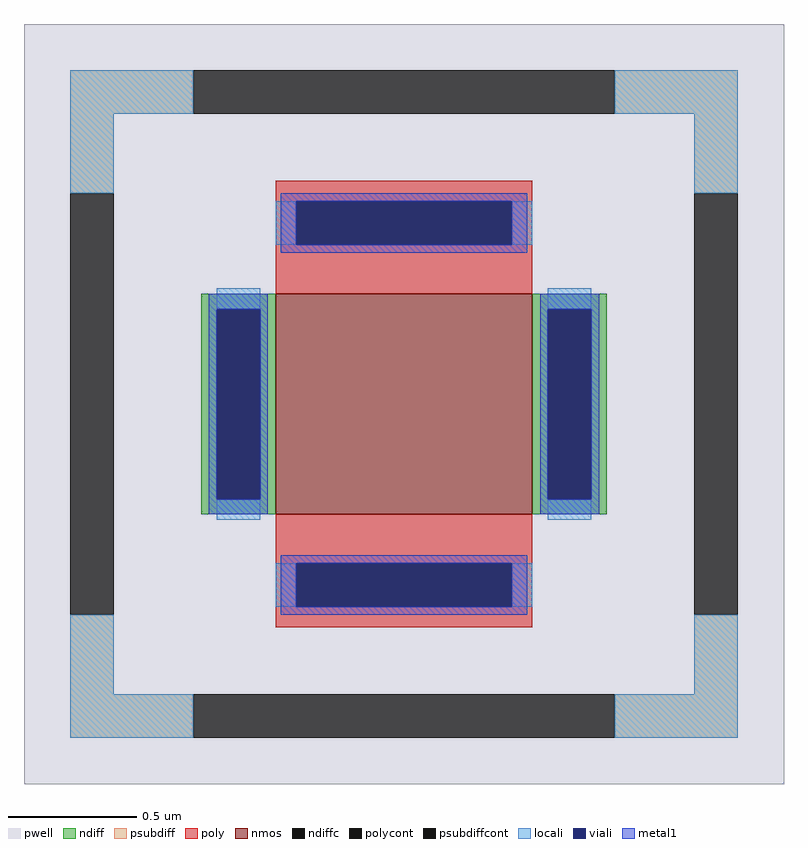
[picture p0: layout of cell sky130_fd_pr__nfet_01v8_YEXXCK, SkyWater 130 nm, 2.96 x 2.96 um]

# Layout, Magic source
magic
tech sky130A
<< pwell >>
rect -148 -148 148 148
<< nmos >>
rect -50 -43 50 43
<< ndiff >>
rect -79 37 -50 43
rect -79 -37 -73 37
rect -56 -37 -50 37
rect -79 -43 -50 -37
rect 50 37 79 43
rect 50 -37 56 37
rect 73 -37 79 37
rect 50 -43 79 -37
<< ndiffc >>
rect -73 -37 -56 37
rect 56 -37 73 37
<< psubdiff >>
rect -130 113 -82 130
rect 82 113 130 130
rect -130 82 -113 113
rect 113 82 130 113
rect -130 -113 -113 -82
rect 113 -113 130 -82
rect -130 -130 -82 -113
rect 82 -130 130 -113
<< psubdiffcont >>
rect -82 113 82 130
rect -130 -82 -113 82
rect 113 -82 130 82
rect -82 -130 82 -113
<< poly >>
rect -50 79 50 87
rect -50 62 -42 79
rect 42 62 50 79
rect -50 43 50 62
rect -50 -62 50 -43
rect -50 -79 -42 -62
rect 42 -79 50 -62
rect -50 -87 50 -79
<< polycont >>
rect -42 62 42 79
rect -42 -79 42 -62
<< locali >>
rect -130 113 -82 130
rect 82 113 130 130
rect -130 82 -113 113
rect 113 82 130 113
rect -50 62 -42 79
rect 42 62 50 79
rect -73 37 -56 45
rect -73 -45 -56 -37
rect 56 37 73 45
rect 56 -45 73 -37
rect -50 -79 -42 -62
rect 42 -79 50 -62
rect -130 -113 -113 -82
rect 113 -113 130 -82
rect -130 -130 -82 -113
rect 82 -130 130 -113
<< viali >>
rect -42 62 42 79
rect -73 -37 -56 37
rect 56 -37 73 37
rect -42 -79 42 -62
<< metal1 >>
rect -48 79 48 82
rect -48 62 -42 79
rect 42 62 48 79
rect -48 59 48 62
rect -76 37 -53 43
rect -76 -37 -73 37
rect -56 -37 -53 37
rect -76 -43 -53 -37
rect 53 37 76 43
rect 53 -37 56 37
rect 73 -37 76 37
rect 53 -43 76 -37
rect -48 -62 48 -59
rect -48 -79 -42 -62
rect 42 -79 48 -62
rect -48 -82 48 -79
<< properties >>
string gencell sky130_fd_pr__nfet_01v8
string FIXED_BBOX -121 -121 121 121
string parameters w 0.861 l 1.0 m 1 nf 1 diffcov 100 polycov 100 guard 1 glc 1 grc 1 gtc 1 gbc 1 tbcov 100 rlcov 100 topc 1 botc 1 poverlap 0 doverlap 1 lmin 0.15 wmin 0.42 compatible {sky130_fd_pr__nfet_01v8 sky130_fd_pr__nfet_01v8_lvt  sky130_fd_bs_flash__special_sonosfet_star  sky130_fd_pr__nfet_g5v0d10v5 sky130_fd_pr__nfet_05v0_nvt} full_metal 1 viasrc 100 viadrn 100 viagate 100 viagb 0 viagr 0 viagl 0 viagt 0
string library sky130
<< end >>
